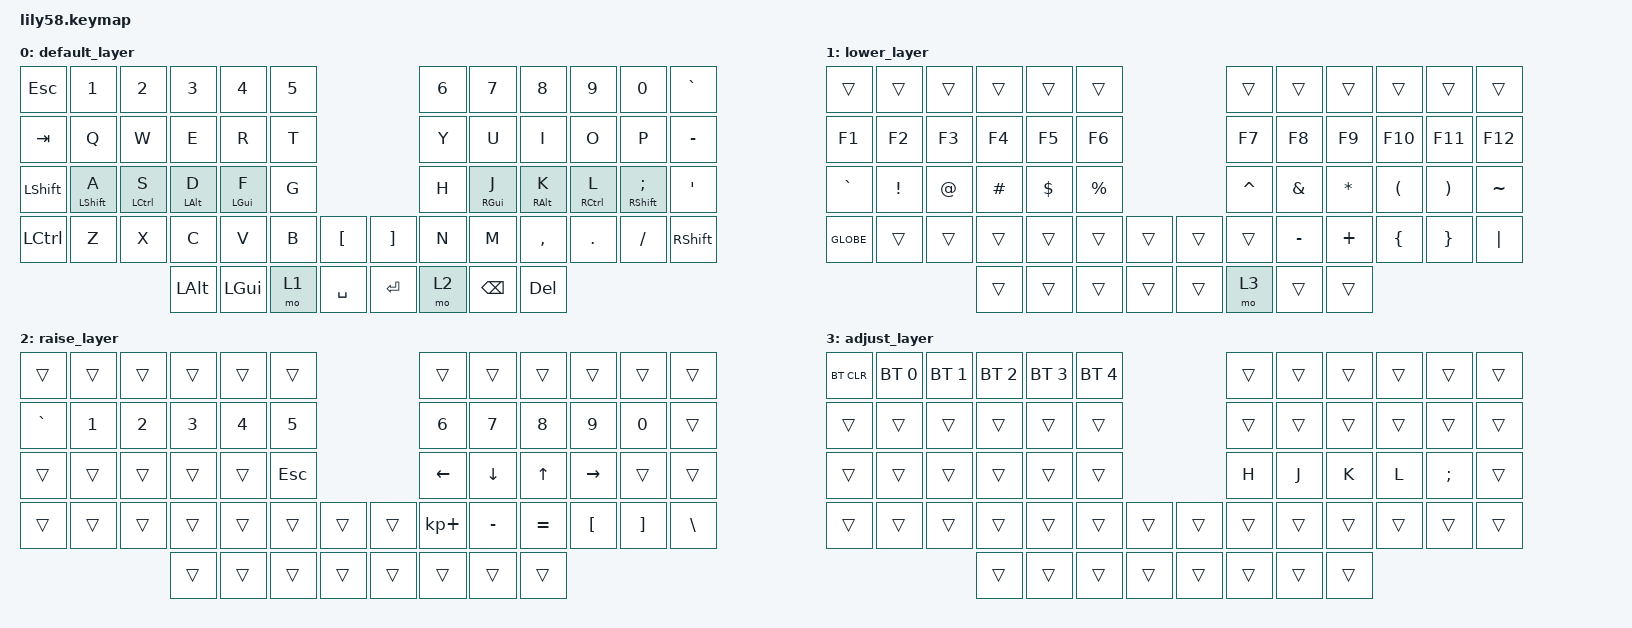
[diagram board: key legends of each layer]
/*
 * Copyright (c) 2020 The ZMK Contributors
 *
 * SPDX-License-Identifier: MIT
 */

#include <behaviors.dtsi>
#include <dt-bindings/zmk/keys.h>
#include <dt-bindings/zmk/bt.h>
#include <dt-bindings/zmk/ext_power.h>

/ {
    behaviors {
        hml: homerow_mods_left {
            compatible = "zmk,behavior-hold-tap";
            #binding-cells = <2>;
            flavor = "balanced";
            tapping-term-ms = <280>;
            quick-tap-ms = <175>;
            require-prior-idle-ms = <150>;
            bindings = <&kp>, <&kp>;
            hold-trigger-key-positions = <6 7 8 9 10 11 18 19 20 21 22 23 30 31 32 33 34 35 44 45 46 47 48 49>;
            hold-trigger-on-release;
        };

        hmr: homerow_mods_right {
            compatible = "zmk,behavior-hold-tap";
            #binding-cells = <2>;
            flavor = "balanced";
            tapping-term-ms = <280>;
            quick-tap-ms = <175>;
            require-prior-idle-ms = <150>;
            bindings = <&kp>, <&kp>;
            hold-trigger-key-positions = <0 1 2 3 4 5 12 13 14 15 16 17 24 25 26 27 28 29 36 37 38 39 40 41 42 43>;
            hold-trigger-on-release;
        };
    };

    keymap {
        compatible = "zmk,keymap";

        default_layer {
// ------------------------------------------------------------------------------------------------------------
// |  ESC  |  1   |  2   |  3   |  4   |  5   |                   |  6   |  7    |  8    |  9   |   0   |   `   |
// |  TAB  |  Q   |  W   |  E   |  R   |  T   |                   |  Y   |  U    |  I    |  O   |   P   |   -   |
// | SHIFT | SFT/A| CTL/S| ALT/D| GUI/F|  G   |                   |  H   | GUI/J | ALT/K | CTL/L| SFT/; |   '   |
// | CTRL  |  Z   |  X   |  C   |  V   |  B   |   "["  |  |  "]"  |  N   |  M    |  ,    |  .   |   /   | SHIFT |
//                       | ALT  | GUI  | LOWER|  SPACE |  | ENTER | RAISE| BSPC  |  DEL  |
            bindings = <
&kp ESC   &kp N1       &kp N2       &kp N3       &kp N4       &kp N5                         &kp N6       &kp N7       &kp N8       &kp N9       &kp N0          &kp GRAVE
&kp TAB   &kp Q        &kp W        &kp E        &kp R        &kp T                          &kp Y        &kp U        &kp I        &kp O        &kp P           &kp MINUS
&kp LSHFT &hml LSHFT A &hml LCTL S  &hml LALT D  &hml LGUI F  &kp G                          &kp H        &hmr RGUI J  &hmr RALT K  &hmr RCTL L  &hmr RSHFT SEMI &kp SQT
&kp LCTRL &kp Z        &kp X        &kp C        &kp V        &kp B   &kp LBKT   &kp RBKT    &kp N        &kp M        &kp COMMA    &kp DOT      &kp FSLH        &kp RSHFT
                                    &kp LALT     &kp LGUI     &mo 1   &kp SPACE  &kp RET     &mo 2        &kp BSPC     &kp DEL
            >;
        };

        lower_layer {
// ------------------------------------------------------------------------------------------------------------
// |       |     |     |      |      |      |                   |      |       |       |      |       |       |
// |  F1   |  F2 |  F3 |  F4  |  F5  |  F6  |                   |  F7  |  F8   |  F9   |  F10 |  F11  |  F12  |
// |   `   |  !  |  @  |  #   |  $   |  %   |                   |  ^   |  &    |  *    |  (   |   )   |   ~   |
// |  FN   |     |     |      |      |      |        |  |       |      |  _    |  +    |  {   |   }   |  "|"  |
//                     |      |      |      |        |  |       |layer3|       |       |
            bindings = <
&trans     &trans   &trans &trans   &trans     &trans                       &trans    &trans    &trans    &trans    &trans    &trans
&kp F1     &kp F2   &kp F3 &kp F4   &kp F5     &kp F6                       &kp F7    &kp F8    &kp F9    &kp F10   &kp F11   &kp F12
&kp GRAVE  &kp EXCL &kp AT &kp HASH &kp DOLLAR &kp PRCNT                    &kp CARET &kp AMPS  &kp ASTRK &kp LPAR  &kp RPAR  &kp TILDE
&kp GLOBE  &trans   &trans &trans   &trans     &trans    &trans   &trans    &trans    &kp MINUS &kp PLUS  &kp LBRC  &kp RBRC  &kp PIPE
                           &trans   &trans     &trans    &trans   &trans    &mo 3     &trans    &trans
            >;
        };

        raise_layer {
// ------------------------------------------------------------------------------------------------------------
// |       |     |     |      |      |      |                   |      |       |       |      |       |       |
// |   `   |  1  |  2  |  3   |  4   |  5   |                   |  6   |   7   |   8   |  9   |   0   |       |
// |       |     |     |      |      | ESC  |                   |  <-  |   v   |   ^   |  ->  |       |       |
// |       |     |     |      |      |      |        |  |       |  +   |   -   |   =   |  [   |   ]   |   \   |
//                     |      |      |      |        |  |       |      |       |       |
            bindings = <
&trans    &trans &trans &trans  &trans  &trans                        &trans      &trans    &trans    &trans    &trans    &trans
&kp GRAVE &kp N1 &kp N2 &kp N3  &kp N4  &kp N5                        &kp N6      &kp N7    &kp N8    &kp N9    &kp N0    &trans
&trans    &trans &trans &trans  &trans  &kp ESC                       &kp LEFT    &kp DOWN  &kp UP    &kp RIGHT &trans    &trans
&trans    &trans &trans &trans  &trans  &trans     &trans   &trans    &kp KP_PLUS &kp MINUS &kp EQUAL &kp LBKT  &kp RBKT  &kp BSLH
                        &trans  &trans  &trans     &trans   &trans    &trans      &trans    &trans
            >;
        };

        adjust_layer {
// ------------------------------------------------------------------------------------------------------------
// | BTCLR | BT1 | BT2 |  BT3 |  BT4 |  BT5 |                   |      |       |       |      |       |       |
// |       |     |     |      |      |      |                   |      |       |       |      |       |       |
// |       |     |     |      |      |      |                   |  H   |   J   |   K   |  L   |   ;   |       |
// |       |     |     |      |      |      |        |  |       |      |       |       |      |       |       |
//                     |      |      |      |        |  |       |      |       |       |
            bindings = <
&bt BT_CLR &bt BT_SEL 0 &bt BT_SEL 1 &bt BT_SEL 2 &bt BT_SEL 3 &bt BT_SEL 4                 &trans &trans &trans &trans &trans   &trans
&trans     &trans       &trans       &trans       &trans       &trans                       &trans &trans &trans &trans &trans   &trans
&trans     &trans       &trans       &trans       &trans       &trans                       &kp H  &kp J  &kp K  &kp L  &kp SEMI &trans
&trans     &trans       &trans       &trans       &trans       &trans       &trans &trans   &trans &trans &trans &trans &trans   &trans
                                     &trans       &trans       &trans       &trans &trans   &trans &trans &trans
            >;
        };
    };
};
